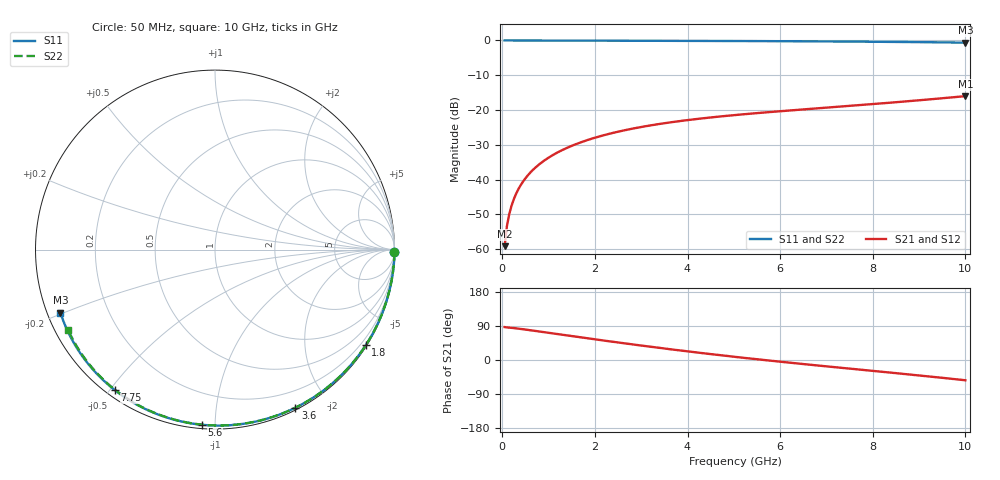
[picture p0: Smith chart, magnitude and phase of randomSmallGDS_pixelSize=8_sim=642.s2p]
! freq	dB(S11)	phase(S11)	dB(S12)	phase(S12)
!  dB(S21)	phase(S21)	dB(S22)	phase(S22)
!S-par simulation data
#  GHz  S  DB  R 50
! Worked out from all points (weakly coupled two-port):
!   200 points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, 50 MHz to 10 GHz, reference 50 ohm
!   highest |S21| = -16.00 dB at 10 GHz (marker M1); lowest = -59.1 dB at 50 MHz (marker M2)
!   lowest |S11| = -0.6 dB at 10 GHz (marker M3), VSWR 27.67, Z = 1.88 - j9.78 ohm
!   |S11| at or under -10 dB: nowhere
!   |S22| runs from -0.6 to 0.0 dB; largest |S21 - S12| = 0
!   S11 on the Smith chart (normalised r, x): 50 MHz: open; 1.8 GHz: 0.03, -3.44; 3.6 GHz: 0.02, -1.63; 5.6 GHz: 0.02, -0.93; 7.75 GHz: 0.02, -0.52; 10 GHz: 0.04, -0.20
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0.05  -0.00 -0.9  -59.10 86.8  -59.10 86.8  -0.00 -0.9
0.1  -0.00 -1.8  -53.32 86.0  -53.32 86.0  -0.00 -1.8
0.15  -0.00 -2.8  -49.91 85.5  -49.91 85.5  -0.00 -2.7
0.2  -0.00 -3.7  -47.47 84.9  -47.47 84.9  -0.00 -3.6
0.35  -0.00 -6.4  -42.67 82.8  -42.67 82.8  -0.00 -6.2
0.5  -0.01 -9.2  -39.60 80.4  -39.60 80.4  -0.01 -8.9
0.7  -0.01 -12.8  -36.71 77.0  -36.71 77.0  -0.01 -12.4
1  -0.02 -18.2  -33.67 71.8  -33.67 71.8  -0.02 -17.6
1.35  -0.03 -24.5  -31.14 65.7  -31.14 65.7  -0.03 -23.7
1.75  -0.04 -31.5  -29.02 58.8  -29.02 58.8  -0.04 -30.6
1.8  -0.05 -32.4  -28.79 57.9  -28.79 57.9  -0.05 -31.4
2.5  -0.07 -44.6  -26.21 46.2  -26.21 46.2  -0.07 -43.2
3.4  -0.10 -59.7  -23.98 31.9  -23.98 31.9  -0.09 -57.9
3.6  -0.10 -63.0  -23.58 28.8  -23.58 28.8  -0.10 -61.1
4.3  -0.13 -74.3  -22.41 18.4  -22.41 18.4  -0.12 -72.0
5.05  -0.16 -86.0  -21.40 7.9  -21.40 7.9  -0.16 -83.2
5.6  -0.19 -94.3  -20.76 0.6  -20.76 0.6  -0.18 -91.3
6.7  -0.25 -110.5  -19.61 -13.2  -19.61 -13.2  -0.25 -106.8
7.75  -0.34 -125.5  -18.55 -25.7  -18.55 -25.7  -0.33 -121.1
8.35  -0.40 -134.0  -17.91 -32.9  -17.91 -32.9  -0.39 -129.1
9.2  -0.51 -146.1  -16.96 -43.2  -16.96 -43.2  -0.49 -140.5
10  -0.63 -157.8  -16.00 -53.5  -16.00 -53.5  -0.61 -151.3
